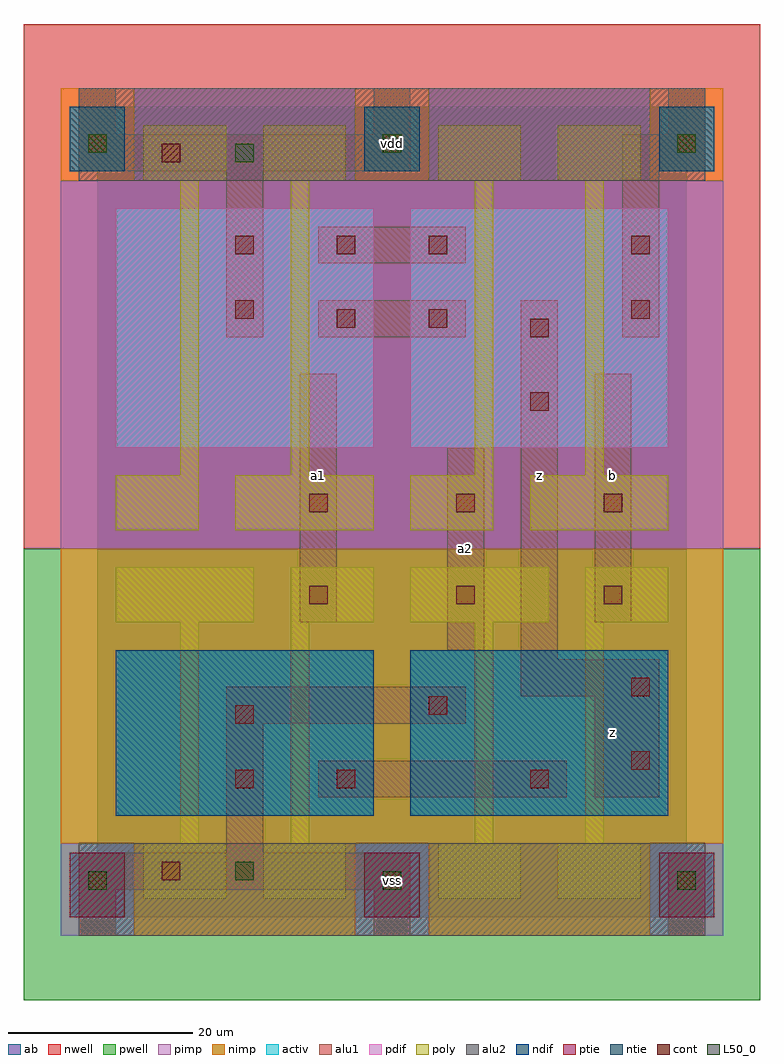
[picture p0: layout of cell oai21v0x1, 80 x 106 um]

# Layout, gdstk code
import gdstk
lib = gdstk.Library(unit=1e-6, precision=1e-09)
def R(c, l, rs):  # rectangles x0, y0, x1, y1
    for r in rs: c.add(gdstk.rectangle(r[:2], r[2:], *l))
def A(c, l, x, y, w, h, nx, ny, dx, dy):  # array of equal rectangles
    R(c, l, [(x+i*dx, y+j*dy, x+i*dx+w, y+j*dy+h) for i in range(nx) for j in range(ny)])
ndif = (3, 0)
pdif = (4, 0)
ntie = (5, 0)
ptie = (6, 0)
cont = (25, 0)
pwell = (41, 0)
nwell = (42, 0)
activ = (43, 0)
pimp = (44, 0)
nimp = (45, 0)
poly = (46, 0)
alu1 = (49, 0)
L50_0 = (50, 0)
alu2 = (51, 0)
ab = (63, 0)

oai21v0x1 = lib.new_cell('oai21v0x1')
R(oai21v0x1, ndif, [(2,11,30,29), (34,11,62,29)])
R(oai21v0x1, pdif, [(2,51,30,77), (34,51,62,77)])
A(oai21v0x1, ntie, -3, 81, 6, 7, 3, 1, 32, 0)
A(oai21v0x1, ptie, -3, 0, 6, 7, 3, 1, 32, 0)
A(oai21v0x1, cont, -1, 3, 2, 2, 3, 2, 32, 80)
A(oai21v0x1, cont, 23, 34, 2, 2, 3, 2, 16, 10)
R(oai21v0x1, cont, [(7,4,9,6), (15,14,17,16), (26,14,28,16), (47,14,49,16), (58,16,60,18), (15,21,17,23), (36,22,38,24), (58,24,60,26), (47,55,49,57), (47,63,49,65), (26,64,28,66), (36,64,38,66), (15,65,17,67), (58,65,60,67), (15,72,17,74), (26,72,28,74), (36,72,38,74), (58,72,60,74), (7,82,9,84)])
R(oai21v0x1, pwell, [(-8,-9,72,40)])
R(oai21v0x1, nwell, [(-8,40,72,97)])
A(oai21v0x1, activ, -3, 0, 6, 7, 3, 2, 32, 81)
R(oai21v0x1, activ, [(2,11,30,29), (34,11,62,29), (2,51,30,77), (34,51,62,77)])
A(oai21v0x1, pimp, -4, -2, 8, 10, 3, 1, 32, 0)
R(oai21v0x1, pimp, [(-4,40,68,80), (4,80,28,90), (36,80,60,90)])
A(oai21v0x1, nimp, -4, 80, 8, 10, 3, 1, 32, 0)
R(oai21v0x1, nimp, [(4,-2,28,8), (36,-2,60,8), (-4,8,68,40)])
R(oai21v0x1, poly, [(5,2,14,8), (18,2,27,8), (37,2,46,8), (50,2,59,8), (9,8,11,32), (21,8,23,32), (41,8,43,32), (53,8,55,32), (2,32,17,38), (21,32,30,38), (34,32,49,38), (53,32,62,38), (2,42,11,48), (15,42,30,48), (34,42,43,48), (47,42,62,48), (9,48,11,80), (21,48,23,80), (41,48,43,80), (53,48,55,80), (5,80,14,86), (18,80,27,86), (37,80,46,86), (50,80,59,86)])
A(oai21v0x1, alu1, -2, 85, 4, 5, 3, 1, 32, 0)
R(oai21v0x1, alu1, [(-2,-2,2,3), (30,-2,34,3), (62,-2,66,7), (-2,3,34,7), (14,7,18,21), (24,13,51,17), (54,13,61,24), (14,21,40,25), (46,24,61,28), (46,28,50,67), (38,29,42,51), (22,32,26,59), (54,32,58,59), (14,63,18,81), (24,63,40,67), (57,63,61,81), (24,71,40,75), (-2,81,34,85), (57,81,66,85)])
A(oai21v0x1, L50_0, -1, 3, 2, 2, 3, 2, 32, 80)
R(oai21v0x1, L50_0, [(15,4,17,6), (15,82,17,84)])
R(oai21v0x1, alu2, [(-2,-2,66,8), (-2,80,66,90)])
R(oai21v0x1, ab, [(0,0,64,88)])
oai21v0x1.add(gdstk.Label('a1', (24,48), layer=49, texttype=0))
oai21v0x1.add(gdstk.Label('a2', (40,40), layer=49, texttype=0))
oai21v0x1.add(gdstk.Label('z', (56,20), layer=49, texttype=0))
oai21v0x1.add(gdstk.Label('b', (56,48), layer=49, texttype=0))
oai21v0x1.add(gdstk.Label('z', (48,48), layer=49, texttype=0))
oai21v0x1.add(gdstk.Label('vss', (32,4), layer=51, texttype=0))
oai21v0x1.add(gdstk.Label('vdd', (32,84), layer=51, texttype=0))

lib.write_gds('oai21v0x1.gds')
